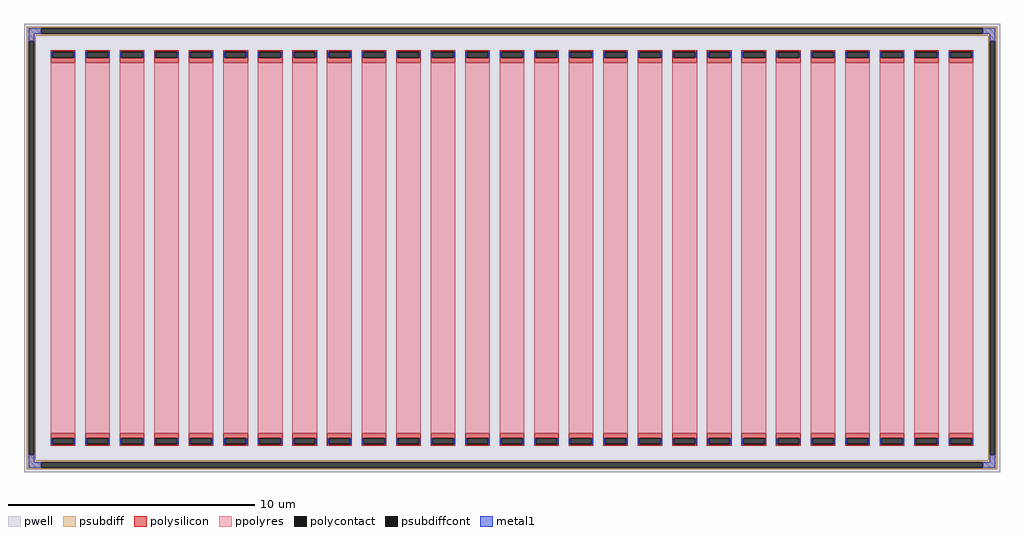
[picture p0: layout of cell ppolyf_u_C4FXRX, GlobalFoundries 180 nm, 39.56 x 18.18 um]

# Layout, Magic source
magic
tech gf180mcuD
magscale 1 10
<< pwell >>
rect -3956 -1818 3956 1818
<< psubdiff >>
rect -3932 1781 3932 1794
rect -3932 1735 -3816 1781
rect 3816 1735 3932 1781
rect -3932 1722 3932 1735
rect -3932 1678 -3860 1722
rect -3932 -1678 -3919 1678
rect -3873 -1678 -3860 1678
rect 3860 1678 3932 1722
rect -3932 -1722 -3860 -1678
rect 3860 -1678 3873 1678
rect 3919 -1678 3932 1678
rect 3860 -1722 3932 -1678
rect -3932 -1735 3932 -1722
rect -3932 -1781 -3816 -1735
rect 3816 -1781 3932 -1735
rect -3932 -1794 3932 -1781
<< psubdiffcont >>
rect -3816 1735 3816 1781
rect -3919 -1678 -3873 1678
rect 3873 -1678 3919 1678
rect -3816 -1781 3816 -1735
<< polysilicon >>
rect -3740 1589 -3540 1602
rect -3740 1543 -3727 1589
rect -3553 1543 -3540 1589
rect -3740 1500 -3540 1543
rect -3740 -1543 -3540 -1500
rect -3740 -1589 -3727 -1543
rect -3553 -1589 -3540 -1543
rect -3740 -1602 -3540 -1589
rect -3460 1589 -3260 1602
rect -3460 1543 -3447 1589
rect -3273 1543 -3260 1589
rect -3460 1500 -3260 1543
rect -3460 -1543 -3260 -1500
rect -3460 -1589 -3447 -1543
rect -3273 -1589 -3260 -1543
rect -3460 -1602 -3260 -1589
rect -3180 1589 -2980 1602
rect -3180 1543 -3167 1589
rect -2993 1543 -2980 1589
rect -3180 1500 -2980 1543
rect -3180 -1543 -2980 -1500
rect -3180 -1589 -3167 -1543
rect -2993 -1589 -2980 -1543
rect -3180 -1602 -2980 -1589
rect -2900 1589 -2700 1602
rect -2900 1543 -2887 1589
rect -2713 1543 -2700 1589
rect -2900 1500 -2700 1543
rect -2900 -1543 -2700 -1500
rect -2900 -1589 -2887 -1543
rect -2713 -1589 -2700 -1543
rect -2900 -1602 -2700 -1589
rect -2620 1589 -2420 1602
rect -2620 1543 -2607 1589
rect -2433 1543 -2420 1589
rect -2620 1500 -2420 1543
rect -2620 -1543 -2420 -1500
rect -2620 -1589 -2607 -1543
rect -2433 -1589 -2420 -1543
rect -2620 -1602 -2420 -1589
rect -2340 1589 -2140 1602
rect -2340 1543 -2327 1589
rect -2153 1543 -2140 1589
rect -2340 1500 -2140 1543
rect -2340 -1543 -2140 -1500
rect -2340 -1589 -2327 -1543
rect -2153 -1589 -2140 -1543
rect -2340 -1602 -2140 -1589
rect -2060 1589 -1860 1602
rect -2060 1543 -2047 1589
rect -1873 1543 -1860 1589
rect -2060 1500 -1860 1543
rect -2060 -1543 -1860 -1500
rect -2060 -1589 -2047 -1543
rect -1873 -1589 -1860 -1543
rect -2060 -1602 -1860 -1589
rect -1780 1589 -1580 1602
rect -1780 1543 -1767 1589
rect -1593 1543 -1580 1589
rect -1780 1500 -1580 1543
rect -1780 -1543 -1580 -1500
rect -1780 -1589 -1767 -1543
rect -1593 -1589 -1580 -1543
rect -1780 -1602 -1580 -1589
rect -1500 1589 -1300 1602
rect -1500 1543 -1487 1589
rect -1313 1543 -1300 1589
rect -1500 1500 -1300 1543
rect -1500 -1543 -1300 -1500
rect -1500 -1589 -1487 -1543
rect -1313 -1589 -1300 -1543
rect -1500 -1602 -1300 -1589
rect -1220 1589 -1020 1602
rect -1220 1543 -1207 1589
rect -1033 1543 -1020 1589
rect -1220 1500 -1020 1543
rect -1220 -1543 -1020 -1500
rect -1220 -1589 -1207 -1543
rect -1033 -1589 -1020 -1543
rect -1220 -1602 -1020 -1589
rect -940 1589 -740 1602
rect -940 1543 -927 1589
rect -753 1543 -740 1589
rect -940 1500 -740 1543
rect -940 -1543 -740 -1500
rect -940 -1589 -927 -1543
rect -753 -1589 -740 -1543
rect -940 -1602 -740 -1589
rect -660 1589 -460 1602
rect -660 1543 -647 1589
rect -473 1543 -460 1589
rect -660 1500 -460 1543
rect -660 -1543 -460 -1500
rect -660 -1589 -647 -1543
rect -473 -1589 -460 -1543
rect -660 -1602 -460 -1589
rect -380 1589 -180 1602
rect -380 1543 -367 1589
rect -193 1543 -180 1589
rect -380 1500 -180 1543
rect -380 -1543 -180 -1500
rect -380 -1589 -367 -1543
rect -193 -1589 -180 -1543
rect -380 -1602 -180 -1589
rect -100 1589 100 1602
rect -100 1543 -87 1589
rect 87 1543 100 1589
rect -100 1500 100 1543
rect -100 -1543 100 -1500
rect -100 -1589 -87 -1543
rect 87 -1589 100 -1543
rect -100 -1602 100 -1589
rect 180 1589 380 1602
rect 180 1543 193 1589
rect 367 1543 380 1589
rect 180 1500 380 1543
rect 180 -1543 380 -1500
rect 180 -1589 193 -1543
rect 367 -1589 380 -1543
rect 180 -1602 380 -1589
rect 460 1589 660 1602
rect 460 1543 473 1589
rect 647 1543 660 1589
rect 460 1500 660 1543
rect 460 -1543 660 -1500
rect 460 -1589 473 -1543
rect 647 -1589 660 -1543
rect 460 -1602 660 -1589
rect 740 1589 940 1602
rect 740 1543 753 1589
rect 927 1543 940 1589
rect 740 1500 940 1543
rect 740 -1543 940 -1500
rect 740 -1589 753 -1543
rect 927 -1589 940 -1543
rect 740 -1602 940 -1589
rect 1020 1589 1220 1602
rect 1020 1543 1033 1589
rect 1207 1543 1220 1589
rect 1020 1500 1220 1543
rect 1020 -1543 1220 -1500
rect 1020 -1589 1033 -1543
rect 1207 -1589 1220 -1543
rect 1020 -1602 1220 -1589
rect 1300 1589 1500 1602
rect 1300 1543 1313 1589
rect 1487 1543 1500 1589
rect 1300 1500 1500 1543
rect 1300 -1543 1500 -1500
rect 1300 -1589 1313 -1543
rect 1487 -1589 1500 -1543
rect 1300 -1602 1500 -1589
rect 1580 1589 1780 1602
rect 1580 1543 1593 1589
rect 1767 1543 1780 1589
rect 1580 1500 1780 1543
rect 1580 -1543 1780 -1500
rect 1580 -1589 1593 -1543
rect 1767 -1589 1780 -1543
rect 1580 -1602 1780 -1589
rect 1860 1589 2060 1602
rect 1860 1543 1873 1589
rect 2047 1543 2060 1589
rect 1860 1500 2060 1543
rect 1860 -1543 2060 -1500
rect 1860 -1589 1873 -1543
rect 2047 -1589 2060 -1543
rect 1860 -1602 2060 -1589
rect 2140 1589 2340 1602
rect 2140 1543 2153 1589
rect 2327 1543 2340 1589
rect 2140 1500 2340 1543
rect 2140 -1543 2340 -1500
rect 2140 -1589 2153 -1543
rect 2327 -1589 2340 -1543
rect 2140 -1602 2340 -1589
rect 2420 1589 2620 1602
rect 2420 1543 2433 1589
rect 2607 1543 2620 1589
rect 2420 1500 2620 1543
rect 2420 -1543 2620 -1500
rect 2420 -1589 2433 -1543
rect 2607 -1589 2620 -1543
rect 2420 -1602 2620 -1589
rect 2700 1589 2900 1602
rect 2700 1543 2713 1589
rect 2887 1543 2900 1589
rect 2700 1500 2900 1543
rect 2700 -1543 2900 -1500
rect 2700 -1589 2713 -1543
rect 2887 -1589 2900 -1543
rect 2700 -1602 2900 -1589
rect 2980 1589 3180 1602
rect 2980 1543 2993 1589
rect 3167 1543 3180 1589
rect 2980 1500 3180 1543
rect 2980 -1543 3180 -1500
rect 2980 -1589 2993 -1543
rect 3167 -1589 3180 -1543
rect 2980 -1602 3180 -1589
rect 3260 1589 3460 1602
rect 3260 1543 3273 1589
rect 3447 1543 3460 1589
rect 3260 1500 3460 1543
rect 3260 -1543 3460 -1500
rect 3260 -1589 3273 -1543
rect 3447 -1589 3460 -1543
rect 3260 -1602 3460 -1589
rect 3540 1589 3740 1602
rect 3540 1543 3553 1589
rect 3727 1543 3740 1589
rect 3540 1500 3740 1543
rect 3540 -1543 3740 -1500
rect 3540 -1589 3553 -1543
rect 3727 -1589 3740 -1543
rect 3540 -1602 3740 -1589
<< polycontact >>
rect -3727 1543 -3553 1589
rect -3727 -1589 -3553 -1543
rect -3447 1543 -3273 1589
rect -3447 -1589 -3273 -1543
rect -3167 1543 -2993 1589
rect -3167 -1589 -2993 -1543
rect -2887 1543 -2713 1589
rect -2887 -1589 -2713 -1543
rect -2607 1543 -2433 1589
rect -2607 -1589 -2433 -1543
rect -2327 1543 -2153 1589
rect -2327 -1589 -2153 -1543
rect -2047 1543 -1873 1589
rect -2047 -1589 -1873 -1543
rect -1767 1543 -1593 1589
rect -1767 -1589 -1593 -1543
rect -1487 1543 -1313 1589
rect -1487 -1589 -1313 -1543
rect -1207 1543 -1033 1589
rect -1207 -1589 -1033 -1543
rect -927 1543 -753 1589
rect -927 -1589 -753 -1543
rect -647 1543 -473 1589
rect -647 -1589 -473 -1543
rect -367 1543 -193 1589
rect -367 -1589 -193 -1543
rect -87 1543 87 1589
rect -87 -1589 87 -1543
rect 193 1543 367 1589
rect 193 -1589 367 -1543
rect 473 1543 647 1589
rect 473 -1589 647 -1543
rect 753 1543 927 1589
rect 753 -1589 927 -1543
rect 1033 1543 1207 1589
rect 1033 -1589 1207 -1543
rect 1313 1543 1487 1589
rect 1313 -1589 1487 -1543
rect 1593 1543 1767 1589
rect 1593 -1589 1767 -1543
rect 1873 1543 2047 1589
rect 1873 -1589 2047 -1543
rect 2153 1543 2327 1589
rect 2153 -1589 2327 -1543
rect 2433 1543 2607 1589
rect 2433 -1589 2607 -1543
rect 2713 1543 2887 1589
rect 2713 -1589 2887 -1543
rect 2993 1543 3167 1589
rect 2993 -1589 3167 -1543
rect 3273 1543 3447 1589
rect 3273 -1589 3447 -1543
rect 3553 1543 3727 1589
rect 3553 -1589 3727 -1543
<< ppolyres >>
rect -3740 -1500 -3540 1500
rect -3460 -1500 -3260 1500
rect -3180 -1500 -2980 1500
rect -2900 -1500 -2700 1500
rect -2620 -1500 -2420 1500
rect -2340 -1500 -2140 1500
rect -2060 -1500 -1860 1500
rect -1780 -1500 -1580 1500
rect -1500 -1500 -1300 1500
rect -1220 -1500 -1020 1500
rect -940 -1500 -740 1500
rect -660 -1500 -460 1500
rect -380 -1500 -180 1500
rect -100 -1500 100 1500
rect 180 -1500 380 1500
rect 460 -1500 660 1500
rect 740 -1500 940 1500
rect 1020 -1500 1220 1500
rect 1300 -1500 1500 1500
rect 1580 -1500 1780 1500
rect 1860 -1500 2060 1500
rect 2140 -1500 2340 1500
rect 2420 -1500 2620 1500
rect 2700 -1500 2900 1500
rect 2980 -1500 3180 1500
rect 3260 -1500 3460 1500
rect 3540 -1500 3740 1500
<< metal1 >>
rect -3919 1735 -3816 1781
rect 3816 1735 3919 1781
rect -3919 1678 -3873 1735
rect 3873 1678 3919 1735
rect -3738 1543 -3727 1589
rect -3553 1543 -3542 1589
rect -3458 1543 -3447 1589
rect -3273 1543 -3262 1589
rect -3178 1543 -3167 1589
rect -2993 1543 -2982 1589
rect -2898 1543 -2887 1589
rect -2713 1543 -2702 1589
rect -2618 1543 -2607 1589
rect -2433 1543 -2422 1589
rect -2338 1543 -2327 1589
rect -2153 1543 -2142 1589
rect -2058 1543 -2047 1589
rect -1873 1543 -1862 1589
rect -1778 1543 -1767 1589
rect -1593 1543 -1582 1589
rect -1498 1543 -1487 1589
rect -1313 1543 -1302 1589
rect -1218 1543 -1207 1589
rect -1033 1543 -1022 1589
rect -938 1543 -927 1589
rect -753 1543 -742 1589
rect -658 1543 -647 1589
rect -473 1543 -462 1589
rect -378 1543 -367 1589
rect -193 1543 -182 1589
rect -98 1543 -87 1589
rect 87 1543 98 1589
rect 182 1543 193 1589
rect 367 1543 378 1589
rect 462 1543 473 1589
rect 647 1543 658 1589
rect 742 1543 753 1589
rect 927 1543 938 1589
rect 1022 1543 1033 1589
rect 1207 1543 1218 1589
rect 1302 1543 1313 1589
rect 1487 1543 1498 1589
rect 1582 1543 1593 1589
rect 1767 1543 1778 1589
rect 1862 1543 1873 1589
rect 2047 1543 2058 1589
rect 2142 1543 2153 1589
rect 2327 1543 2338 1589
rect 2422 1543 2433 1589
rect 2607 1543 2618 1589
rect 2702 1543 2713 1589
rect 2887 1543 2898 1589
rect 2982 1543 2993 1589
rect 3167 1543 3178 1589
rect 3262 1543 3273 1589
rect 3447 1543 3458 1589
rect 3542 1543 3553 1589
rect 3727 1543 3738 1589
rect -3738 -1589 -3727 -1543
rect -3553 -1589 -3542 -1543
rect -3458 -1589 -3447 -1543
rect -3273 -1589 -3262 -1543
rect -3178 -1589 -3167 -1543
rect -2993 -1589 -2982 -1543
rect -2898 -1589 -2887 -1543
rect -2713 -1589 -2702 -1543
rect -2618 -1589 -2607 -1543
rect -2433 -1589 -2422 -1543
rect -2338 -1589 -2327 -1543
rect -2153 -1589 -2142 -1543
rect -2058 -1589 -2047 -1543
rect -1873 -1589 -1862 -1543
rect -1778 -1589 -1767 -1543
rect -1593 -1589 -1582 -1543
rect -1498 -1589 -1487 -1543
rect -1313 -1589 -1302 -1543
rect -1218 -1589 -1207 -1543
rect -1033 -1589 -1022 -1543
rect -938 -1589 -927 -1543
rect -753 -1589 -742 -1543
rect -658 -1589 -647 -1543
rect -473 -1589 -462 -1543
rect -378 -1589 -367 -1543
rect -193 -1589 -182 -1543
rect -98 -1589 -87 -1543
rect 87 -1589 98 -1543
rect 182 -1589 193 -1543
rect 367 -1589 378 -1543
rect 462 -1589 473 -1543
rect 647 -1589 658 -1543
rect 742 -1589 753 -1543
rect 927 -1589 938 -1543
rect 1022 -1589 1033 -1543
rect 1207 -1589 1218 -1543
rect 1302 -1589 1313 -1543
rect 1487 -1589 1498 -1543
rect 1582 -1589 1593 -1543
rect 1767 -1589 1778 -1543
rect 1862 -1589 1873 -1543
rect 2047 -1589 2058 -1543
rect 2142 -1589 2153 -1543
rect 2327 -1589 2338 -1543
rect 2422 -1589 2433 -1543
rect 2607 -1589 2618 -1543
rect 2702 -1589 2713 -1543
rect 2887 -1589 2898 -1543
rect 2982 -1589 2993 -1543
rect 3167 -1589 3178 -1543
rect 3262 -1589 3273 -1543
rect 3447 -1589 3458 -1543
rect 3542 -1589 3553 -1543
rect 3727 -1589 3738 -1543
rect -3919 -1735 -3873 -1678
rect 3873 -1735 3919 -1678
rect -3919 -1781 -3816 -1735
rect 3816 -1781 3919 -1735
<< properties >>
string FIXED_BBOX -3896 -1758 3896 1758
string gencell ppolyf_u
string library gf180mcu
string parameters w 1.0 l 15.0 m 1 nx 27 wmin 0.80 lmin 1.00 class resistor rho 315 val 5.01k dummy 0 dw 0.057 term 0.0 sterm 0.0 caplen 0.4 snake 0 guard 1 guard_type pwell glc 1 grc 1 gtc 1 gbc 1 roverlap 0 endcov 100 full_metal 1
<< end >>
